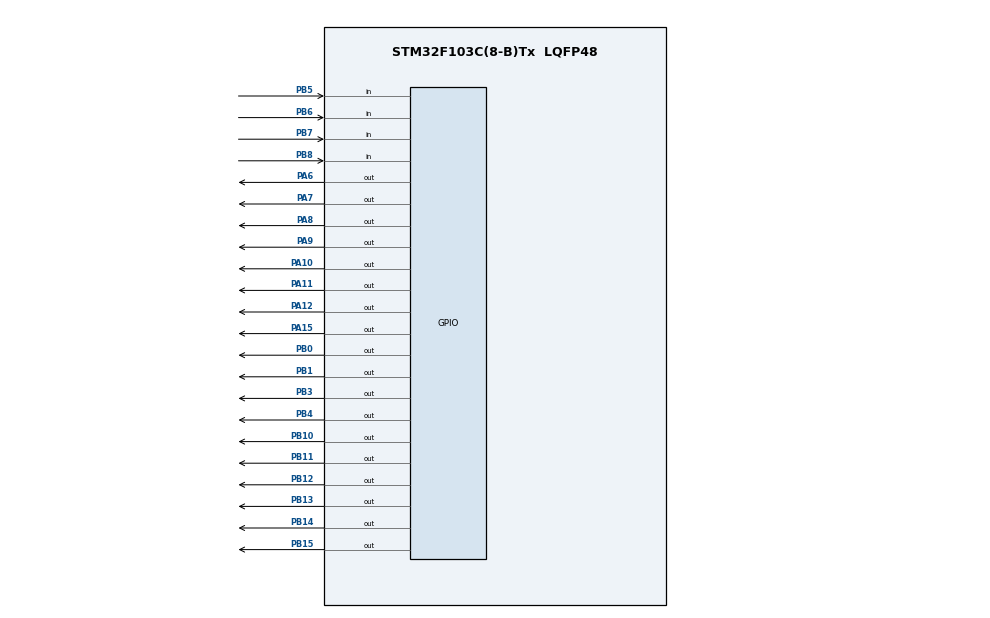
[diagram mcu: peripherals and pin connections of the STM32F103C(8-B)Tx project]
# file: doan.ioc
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Mcu.Family=STM32F1
Mcu.Name=STM32F103C(8-B)Tx
Mcu.Package=LQFP48
NVIC.PriorityGroup=NVIC_PRIORITYGROUP_4
PA10.Signal=GPIO_Output
PA11.Signal=GPIO_Output
PA12.Signal=GPIO_Output
PA13.Mode=Serial_Wire
PA13.Signal=SYS_JTMS-SWDIO
PA14.Mode=Serial_Wire
PA14.Signal=SYS_JTCK-SWCLK
PA15.Signal=GPIO_Output
PA6.Signal=GPIO_Output
PA7.Signal=GPIO_Output
PA8.Signal=GPIO_Output
PA9.Signal=GPIO_Output
PB0.Signal=GPIO_Output
PB1.Signal=GPIO_Output
PB10.Signal=GPIO_Output
PB11.Signal=GPIO_Output
PB12.Signal=GPIO_Output
PB13.Signal=GPIO_Output
PB14.Signal=GPIO_Output
PB15.Signal=GPIO_Output
PB3.Signal=GPIO_Output
PB4.Signal=GPIO_Output
PB5.Signal=GPIO_Input
PB6.Signal=GPIO_Input
PB7.Signal=GPIO_Input
PB8.Signal=GPIO_Input
PD0-OSC_IN.Mode=HSE-External-Oscillator
PD0-OSC_IN.Signal=RCC_OSC_IN
PD1-OSC_OUT.Mode=HSE-External-Oscillator
PD1-OSC_OUT.Signal=RCC_OSC_OUT
ProjectManager.HeapSize=0x200
ProjectManager.StackSize=0x400
ProjectManager.TargetToolchain=MDK-ARM V5.27
RCC.APB1Freq_Value=8000000
RCC.APB2Freq_Value=8000000
board=custom

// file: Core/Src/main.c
/* USER CODE BEGIN Header */
/**
  ******************************************************************************
  * @file           : main.c
  * @brief          : Main program body
  ******************************************************************************
  * @attention
  *
  * <h2><center>&copy; Copyright (c) 2022 STMicroelectronics.
  * All rights reserved.</center></h2>
  *
  * This software component is licensed by ST under BSD 3-Clause license,
  * the "License"; You may not use this file except in compliance with the
  * License. You may obtain a copy of the License at:
  *                        opensource.org/licenses/BSD-3-Clause
  *
  ******************************************************************************
  */
/* USER CODE END Header */
#include "main.h"

/* USER CODE BEGIN Includes */
#include "lcd_16x2.h"
/* USER CODE END Includes */

void SystemClock_Config(void);
static void MX_GPIO_Init(void);

/* USER CODE BEGIN 0 */
unsigned int i,j;
int k=1000;
unsigned char M[]={0xc0,0xf9,0xa4,0xb0,0x99,0x92,0x82,0xf8,0x80,0x90};
void hienthi7seg(unsigned int data)
{
	  HAL_GPIO_WritePin(GPIOA,GPIO_PIN_8, data&0x01);
	  HAL_GPIO_WritePin(GPIOA,GPIO_PIN_9, (data>>1)&0x01);
	  HAL_GPIO_WritePin(GPIOA,GPIO_PIN_10, (data>>2)&0x01);
	  HAL_GPIO_WritePin(GPIOA,GPIO_PIN_11, (data>>3)&0x01);
	  HAL_GPIO_WritePin(GPIOA,GPIO_PIN_12, (data>>4)&0x01);
	  HAL_GPIO_WritePin(GPIOA,GPIO_PIN_15, (data>>5)&0x01);
	  HAL_GPIO_WritePin(GPIOB,GPIO_PIN_3, (data>>6)&0x01);
	  HAL_GPIO_WritePin(GPIOB,GPIO_PIN_4, (data>>7)&0x01);

}

/* USER CODE END 0 */

int reset(void)
	{
		  HAL_GPIO_WritePin(GPIOB,GPIO_PIN_11,0); //XANH1
			HAL_GPIO_WritePin(GPIOB,GPIO_PIN_10,0); //VANG1
			HAL_GPIO_WritePin(GPIOB,GPIO_PIN_1,0); //DO1
	    HAL_GPIO_WritePin(GPIOB,GPIO_PIN_0,0); //XANH2
			HAL_GPIO_WritePin(GPIOA,GPIO_PIN_7,0); //VANG2
			HAL_GPIO_WritePin(GPIOA,GPIO_PIN_6,0); //DO2
	    HAL_GPIO_WritePin(GPIOB,GPIO_PIN_14,0);
	    HAL_GPIO_WritePin(GPIOB,GPIO_PIN_15,0);
	    HAL_GPIO_WritePin(GPIOB,GPIO_PIN_12,0);
	    HAL_GPIO_WritePin(GPIOB,GPIO_PIN_13,0);
		}

int ledxanh_do1(void)
	{
		    hienthi7seg(M[(i-3)/10]);
				HAL_GPIO_WritePin(GPIOB,GPIO_PIN_13,1);
				HAL_Delay(1);
				HAL_GPIO_WritePin(GPIOB,GPIO_PIN_13,0);
				hienthi7seg(M[(i-3)%10]);
				HAL_GPIO_WritePin(GPIOB,GPIO_PIN_12,1);
				HAL_Delay(1);
				HAL_GPIO_WritePin(GPIOB,GPIO_PIN_12,0);
				hienthi7seg(M[i/10]);
				HAL_GPIO_WritePin(GPIOB,GPIO_PIN_15,1);
				HAL_Delay(1);
				HAL_GPIO_WritePin(GPIOB,GPIO_PIN_15,0);
				hienthi7seg(M[i%10]);
				HAL_GPIO_WritePin(GPIOB,GPIO_PIN_14,1);
				HAL_Delay(1);
				HAL_GPIO_WritePin(GPIOB,GPIO_PIN_14,0);
		}
int ledxanh_do2(void)
	{
		    hienthi7seg(M[(i-3)/10]);
				HAL_GPIO_WritePin(GPIOB,GPIO_PIN_15,1);
				HAL_Delay(1);
				HAL_GPIO_WritePin(GPIOB,GPIO_PIN_15,0);
				hienthi7seg(M[(i-3)%10]);
				HAL_GPIO_WritePin(GPIOB,GPIO_PIN_14,1);
				HAL_Delay(1);
				HAL_GPIO_WritePin(GPIOB,GPIO_PIN_14,0);
				hienthi7seg(M[i/10]);
				HAL_GPIO_WritePin(GPIOB,GPIO_PIN_13,1);
				HAL_Delay(1);
				HAL_GPIO_WritePin(GPIOB,GPIO_PIN_13,0);
				hienthi7seg(M[i%10]);
				HAL_GPIO_WritePin(GPIOB,GPIO_PIN_12,1);
				HAL_Delay(1);
				HAL_GPIO_WritePin(GPIOB,GPIO_PIN_12,0);
		}
	int ledvang_do(void)
		{
			hienthi7seg(M[(i)/10]);
				HAL_GPIO_WritePin(GPIOB,GPIO_PIN_13,1);
				HAL_Delay(1);
				HAL_GPIO_WritePin(GPIOB,GPIO_PIN_13,0);
				hienthi7seg(M[(i)%10]);
				HAL_GPIO_WritePin(GPIOB,GPIO_PIN_12,1);
				HAL_Delay(1);
				HAL_GPIO_WritePin(GPIOB,GPIO_PIN_12,0);
				hienthi7seg(M[i/10]);
				HAL_GPIO_WritePin(GPIOB,GPIO_PIN_15,1);
				HAL_Delay(1);
				HAL_GPIO_WritePin(GPIOB,GPIO_PIN_15,0);
				hienthi7seg(M[i%10]);
				HAL_GPIO_WritePin(GPIOB,GPIO_PIN_14,1);
				HAL_Delay(1);
				HAL_GPIO_WritePin(GPIOB,GPIO_PIN_14,0);
			}
int main(void)
{

  /* MCU Configuration--------------------------------------------------------*/

  /* Reset of all peripherals, Initializes the Flash interface and the Systick. */
  HAL_Init();

  /* USER CODE BEGIN Init */
  Lcd_Init();
  /* USER CODE END Init */

  /* Configure the system clock */
  SystemClock_Config();

  /* Initialize all configured peripherals */
  MX_GPIO_Init();

  /* Infinite loop */
  /* USER CODE BEGIN WHILE */
	Lcd_gotoxy(5,1);
	Lcd_write_string("NHOM 4");
	Lcd_gotoxy(0,0);
	Lcd_write_string(" DEN GIAO THONG");
  while (1)
  {
		 if (HAL_GPIO_ReadPin(GPIOB,GPIO_PIN_5)==0)
    {
    for(i=0;i<k;i++)
{
	if (HAL_GPIO_ReadPin(GPIOB,GPIO_PIN_8)==0)
{
	    reset();
	    break;
}
			for(i=30;i>3;i--)
		{
			if (HAL_GPIO_ReadPin(GPIOB,GPIO_PIN_8)==0)
{
	    reset();
	    break;
}

			HAL_GPIO_WritePin(GPIOB,GPIO_PIN_11,0); //XANH1
			HAL_GPIO_WritePin(GPIOB,GPIO_PIN_10,0); //VANG1
			HAL_GPIO_WritePin(GPIOB,GPIO_PIN_1,1); //DO1
	    HAL_GPIO_WritePin(GPIOB,GPIO_PIN_0,1); //XANH2
			HAL_GPIO_WritePin(GPIOA,GPIO_PIN_7,0); //VANG2
			HAL_GPIO_WritePin(GPIOA,GPIO_PIN_6,0); //DO2
			for(j=0;j<70;j++)
			{
				ledxanh_do1();
				}

			}
    for(i=3;i >0 ;i--)
			{
			if (HAL_GPIO_ReadPin(GPIOB,GPIO_PIN_8)==0)
{
	    reset();
	    break;
}
      HAL_GPIO_WritePin(GPIOB,GPIO_PIN_11,0); //XANH1
			HAL_GPIO_WritePin(GPIOB,GPIO_PIN_10,0); //VANG1
			HAL_GPIO_WritePin(GPIOB,GPIO_PIN_1,1); //DO1
	    HAL_GPIO_WritePin(GPIOB,GPIO_PIN_0,0); //XANH2
			HAL_GPIO_WritePin(GPIOA,GPIO_PIN_7,1); //VANG2
			HAL_GPIO_WritePin(GPIOA,GPIO_PIN_6,0); //DO2
			for(j=0;j<70;j++)
			{
				ledvang_do();
				}
				}
		 for(i=30;i>3;i--)
			{
			if (HAL_GPIO_ReadPin(GPIOB,GPIO_PIN_8)==0)
{
	    reset();
	    break;
}
      HAL_GPIO_WritePin(GPIOB,GPIO_PIN_11,1); //XANH1
			HAL_GPIO_WritePin(GPIOB,GPIO_PIN_10,0); //VANG1
			HAL_GPIO_WritePin(GPIOB,GPIO_PIN_1,0); //DO1
	    HAL_GPIO_WritePin(GPIOB,GPIO_PIN_0,0); //XANH2
			HAL_GPIO_WritePin(GPIOA,GPIO_PIN_7,0); //VANG2
			HAL_GPIO_WritePin(GPIOA,GPIO_PIN_6,1); //DO2
			for(j=0;j<70;j++)
			{
				ledxanh_do2();
				}
				}
     for(i=3;i>0;i--)
			{
			if (HAL_GPIO_ReadPin(GPIOB,GPIO_PIN_8)==0)
{
	    reset();
	    break;
}
      HAL_GPIO_WritePin(GPIOB,GPIO_PIN_11,0); //XANH1
			HAL_GPIO_WritePin(GPIOB,GPIO_PIN_10,1); //VANG1
			HAL_GPIO_WritePin(GPIOB,GPIO_PIN_1,0); //DO1
	    HAL_GPIO_WritePin(GPIOB,GPIO_PIN_0,0); //XANH2
			HAL_GPIO_WritePin(GPIOA,GPIO_PIN_7,0); //VANG2
			HAL_GPIO_WritePin(GPIOA,GPIO_PIN_6,1); //DO2
			for(j=0;j<70;j++)
			{
				ledvang_do();
				}
				}
			}
		}
		 if (HAL_GPIO_ReadPin(GPIOB,GPIO_PIN_6)==0)
    {
       for(i=0;i<k;i++)
{
	if (HAL_GPIO_ReadPin(GPIOB,GPIO_PIN_8)==0)
{
	    reset();
	    break;
}
			for(i=45;i>3;i--)
		{
			if (HAL_GPIO_ReadPin(GPIOB,GPIO_PIN_8)==0)
{
	    reset();
	    break;
}
      HAL_GPIO_WritePin(GPIOB,GPIO_PIN_11,0); //XANH1
			HAL_GPIO_WritePin(GPIOB,GPIO_PIN_10,0); //VANG1
			HAL_GPIO_WritePin(GPIOB,GPIO_PIN_1,1); //DO1
	    HAL_GPIO_WritePin(GPIOB,GPIO_PIN_0,1); //XANH2
			HAL_GPIO_WritePin(GPIOA,GPIO_PIN_7,0); //VANG2
			HAL_GPIO_WritePin(GPIOA,GPIO_PIN_6,0); //DO2
			for(j=0;j<70;j++)
			{
        ledxanh_do1();
				}
			}
    for(i=3;i >0 ;i--)
			{
				if (HAL_GPIO_ReadPin(GPIOB,GPIO_PIN_8)==0)
{
	    reset();
	    break;
}
      HAL_GPIO_WritePin(GPIOB,GPIO_PIN_11,0); //XANH1
			HAL_GPIO_WritePin(GPIOB,GPIO_PIN_10,0); //VANG1
			HAL_GPIO_WritePin(GPIOB,GPIO_PIN_1,1); //DO1
	    HAL_GPIO_WritePin(GPIOB,GPIO_PIN_0,0); //XANH2
			HAL_GPIO_WritePin(GPIOA,GPIO_PIN_7,1); //VANG2
			HAL_GPIO_WritePin(GPIOA,GPIO_PIN_6,0); //DO2
			for(j=0;j<70;j++)
			{
				ledvang_do();
				}
				}

		 for(i=45;i>3;i--)
			{
				if (HAL_GPIO_ReadPin(GPIOB,GPIO_PIN_8)==0)
{
	   reset();
	    break;
}
      HAL_GPIO_WritePin(GPIOB,GPIO_PIN_11,1); //XANH1
			HAL_GPIO_WritePin(GPIOB,GPIO_PIN_10,0); //VANG1
			HAL_GPIO_WritePin(GPIOB,GPIO_PIN_1,0); //DO1
	    HAL_GPIO_WritePin(GPIOB,GPIO_PIN_0,0); //XANH2
			HAL_GPIO_WritePin(GPIOA,GPIO_PIN_7,0); //VANG2
			HAL_GPIO_WritePin(GPIOA,GPIO_PIN_6,1); //DO2
			for(j=0;j<70;j++)
			{
				ledxanh_do2();
				}
				}
     for(i=3;i>0;i--)
			{
			if (HAL_GPIO_ReadPin(GPIOB,GPIO_PIN_8)==0)
{
	    reset();
	    break;
}
      HAL_GPIO_WritePin(GPIOB,GPIO_PIN_11,0); //XANH1
			HAL_GPIO_WritePin(GPIOB,GPIO_PIN_10,1); //VANG1
			HAL_GPIO_WritePin(GPIOB,GPIO_PIN_1,0); //DO1
	    HAL_GPIO_WritePin(GPIOB,GPIO_PIN_0,0); //XANH2
			HAL_GPIO_WritePin(GPIOA,GPIO_PIN_7,0); //VANG2
			HAL_GPIO_WritePin(GPIOA,GPIO_PIN_6,1); //DO2
			for(j=0;j<70;j++)
			{
				ledvang_do();
				}
				}
		}
	}
		if (HAL_GPIO_ReadPin(GPIOB,GPIO_PIN_7)==0)
    {
			for(i=10;i>0;i++)
			{
			if(HAL_GPIO_ReadPin(GPIOB,GPIO_PIN_8)==0)
{
	    reset();
	    break;
}
			HAL_GPIO_WritePin(GPIOB,GPIO_PIN_10,1);
			HAL_GPIO_WritePin(GPIOA,GPIO_PIN_7,1);
		  HAL_Delay(500);
			HAL_GPIO_WritePin(GPIOB,GPIO_PIN_10,0);
			HAL_GPIO_WritePin(GPIOA,GPIO_PIN_7,0);
		  HAL_Delay(500);
			}
			}
    /* USER CODE END WHILE */

  }
}

void SystemClock_Config(void)
{
  RCC_OscInitTypeDef RCC_OscInitStruct = {0};
  RCC_ClkInitTypeDef RCC_ClkInitStruct = {0};

  /** Initializes the RCC Oscillators according to the specified parameters
  * in the RCC_OscInitTypeDef structure.
  */
  RCC_OscInitStruct.OscillatorType = RCC_OSCILLATORTYPE_HSI;
  RCC_OscInitStruct.HSIState = RCC_HSI_ON;
  RCC_OscInitStruct.HSICalibrationValue = RCC_HSICALIBRATION_DEFAULT;
  RCC_OscInitStruct.PLL.PLLState = RCC_PLL_NONE;
  if (HAL_RCC_OscConfig(&RCC_OscInitStruct) != HAL_OK)
  {
    Error_Handler();
  }
  /** Initializes the CPU, AHB and APB buses clocks
  */
  RCC_ClkInitStruct.ClockType = RCC_CLOCKTYPE_HCLK|RCC_CLOCKTYPE_SYSCLK
                              |RCC_CLOCKTYPE_PCLK1|RCC_CLOCKTYPE_PCLK2;
  RCC_ClkInitStruct.SYSCLKSource = RCC_SYSCLKSOURCE_HSI;
  RCC_ClkInitStruct.AHBCLKDivider = RCC_SYSCLK_DIV1;
  RCC_ClkInitStruct.APB1CLKDivider = RCC_HCLK_DIV1;
  RCC_ClkInitStruct.APB2CLKDivider = RCC_HCLK_DIV1;

  if (HAL_RCC_ClockConfig(&RCC_ClkInitStruct, FLASH_LATENCY_0) != HAL_OK)
  {
    Error_Handler();
  }
}

static void MX_GPIO_Init(void)
{
  GPIO_InitTypeDef GPIO_InitStruct = {0};

  /* GPIO Ports Clock Enable */
  __HAL_RCC_GPIOD_CLK_ENABLE();
  __HAL_RCC_GPIOA_CLK_ENABLE();
  __HAL_RCC_GPIOB_CLK_ENABLE();

  /*Configure GPIO pin Output Level */
  HAL_GPIO_WritePin(GPIOA, GPIO_PIN_6|GPIO_PIN_7|GPIO_PIN_8|GPIO_PIN_9
                          |GPIO_PIN_10|GPIO_PIN_11|GPIO_PIN_12|GPIO_PIN_15, GPIO_PIN_RESET);

  /*Configure GPIO pin Output Level */
  HAL_GPIO_WritePin(GPIOB, GPIO_PIN_0|GPIO_PIN_1|GPIO_PIN_10|GPIO_PIN_11
                          |GPIO_PIN_12|GPIO_PIN_13|GPIO_PIN_14|GPIO_PIN_15
                          |GPIO_PIN_3|GPIO_PIN_4, GPIO_PIN_RESET);

  /*Configure GPIO pins : PA6 PA7 PA8 PA9
                           PA10 PA11 PA12 PA15 */
  GPIO_InitStruct.Pin = GPIO_PIN_6|GPIO_PIN_7|GPIO_PIN_8|GPIO_PIN_9
                          |GPIO_PIN_10|GPIO_PIN_11|GPIO_PIN_12|GPIO_PIN_15;
  GPIO_InitStruct.Mode = GPIO_MODE_OUTPUT_PP;
  GPIO_InitStruct.Pull = GPIO_NOPULL;
  GPIO_InitStruct.Speed = GPIO_SPEED_FREQ_LOW;
  HAL_GPIO_Init(GPIOA, &GPIO_InitStruct);

  /*Configure GPIO pins : PB0 PB1 PB10 PB11
                           PB12 PB13 PB14 PB15
                           PB3 PB4 */
  GPIO_InitStruct.Pin = GPIO_PIN_0|GPIO_PIN_1|GPIO_PIN_10|GPIO_PIN_11
                          |GPIO_PIN_12|GPIO_PIN_13|GPIO_PIN_14|GPIO_PIN_15
                          |GPIO_PIN_3|GPIO_PIN_4;
  GPIO_InitStruct.Mode = GPIO_MODE_OUTPUT_PP;
  GPIO_InitStruct.Pull = GPIO_NOPULL;
  GPIO_InitStruct.Speed = GPIO_SPEED_FREQ_LOW;
  HAL_GPIO_Init(GPIOB, &GPIO_InitStruct);

  /*Configure GPIO pins : PB5 PB6 PB7 PB8 */
  GPIO_InitStruct.Pin = GPIO_PIN_5|GPIO_PIN_6|GPIO_PIN_7|GPIO_PIN_8;
  GPIO_InitStruct.Mode = GPIO_MODE_INPUT;
  GPIO_InitStruct.Pull = GPIO_NOPULL;
  HAL_GPIO_Init(GPIOB, &GPIO_InitStruct);

}

void Error_Handler(void)
{
  __disable_irq();
  while (1)
  {
  }
}

/************************ (C) COPYRIGHT STMicroelectronics *****END OF FILE****/
